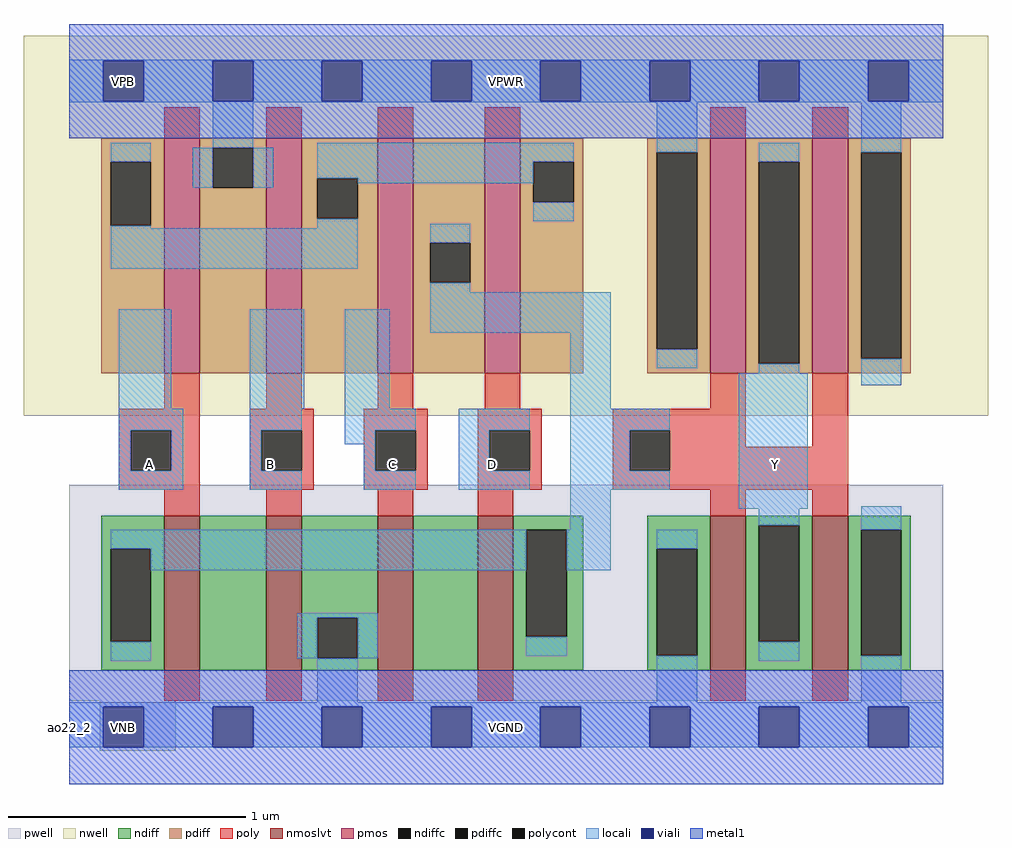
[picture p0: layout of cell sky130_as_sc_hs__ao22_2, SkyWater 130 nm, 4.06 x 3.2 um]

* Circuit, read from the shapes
.subckt sky130_as_sc_hs__ao22_2 VNB VPB VPWR VGND A C B D Y
XM1 n1 A n2 VNB sky130_fd_pr__nfet_01v8_lvt w=0.65 l=0.15
XM2 VGND B n1 VNB sky130_fd_pr__nfet_01v8_lvt w=0.65 l=0.15
XM3 n3 C VGND VNB sky130_fd_pr__nfet_01v8_lvt w=0.65 l=0.15
XM4 n2 D n3 VNB sky130_fd_pr__nfet_01v8_lvt w=0.65 l=0.15
XM5 Y n2 VGND VNB sky130_fd_pr__nfet_01v8_lvt w=0.65 l=0.15 m=2
XM6 VPWR A n4 VPB sky130_fd_pr__pfet_01v8 w=0.99 l=0.15
XM7 n4 B VPWR VPB sky130_fd_pr__pfet_01v8 w=0.99 l=0.15
XM8 n2 C n4 VPB sky130_fd_pr__pfet_01v8 w=0.99 l=0.15
XM9 n4 D n2 VPB sky130_fd_pr__pfet_01v8 w=0.99 l=0.15
XM10 Y n2 VPWR VPB sky130_fd_pr__pfet_01v8 w=0.99 l=0.15 m=2
.ends

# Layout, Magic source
magic
tech sky130A
magscale 1 2
<< nwell >>
rect -38 262 774 582
<< pwell >>
rect 0 22 736 204
rect 26 -20 90 22
<< pmos >>
rect 80 298 110 496
rect 166 298 196 496
rect 260 298 290 496
rect 350 298 380 496
rect 540 298 570 496
rect 626 298 656 496
<< nmoslvt >>
rect 80 48 110 178
rect 166 48 196 178
rect 260 48 290 178
rect 344 48 374 178
rect 540 48 570 178
rect 626 48 656 178
<< ndiff >>
rect 27 150 80 178
rect 27 72 35 150
rect 69 72 80 150
rect 27 48 80 72
rect 110 48 166 178
rect 196 92 260 178
rect 196 58 209 92
rect 243 58 260 92
rect 196 48 260 58
rect 290 48 344 178
rect 374 166 433 178
rect 374 76 385 166
rect 419 76 433 166
rect 374 48 433 76
rect 487 150 540 178
rect 487 60 495 150
rect 529 60 540 150
rect 487 48 540 60
rect 570 170 626 178
rect 570 72 581 170
rect 615 72 626 170
rect 570 48 626 72
rect 656 166 709 178
rect 656 60 667 166
rect 701 60 709 166
rect 656 48 709 60
<< pdiff >>
rect 27 476 80 496
rect 27 422 35 476
rect 69 422 80 476
rect 27 298 80 422
rect 110 488 166 496
rect 110 454 121 488
rect 155 454 166 488
rect 110 298 166 454
rect 196 462 260 496
rect 196 428 209 462
rect 243 428 260 462
rect 196 298 260 428
rect 290 408 350 496
rect 290 374 304 408
rect 338 374 350 408
rect 290 298 350 374
rect 380 476 433 496
rect 380 442 391 476
rect 425 442 433 476
rect 380 298 433 442
rect 487 484 540 496
rect 487 318 495 484
rect 529 318 540 484
rect 487 298 540 318
rect 570 476 626 496
rect 570 306 581 476
rect 615 306 626 476
rect 570 298 626 306
rect 656 484 709 496
rect 656 310 667 484
rect 701 310 709 484
rect 656 298 709 310
<< ndiffc >>
rect 35 72 69 150
rect 209 58 243 92
rect 385 76 419 166
rect 495 60 529 150
rect 581 72 615 170
rect 667 60 701 166
<< pdiffc >>
rect 35 422 69 476
rect 121 454 155 488
rect 209 428 243 462
rect 304 374 338 408
rect 391 442 425 476
rect 495 318 529 484
rect 581 306 615 476
rect 667 310 701 484
<< poly >>
rect 80 496 110 522
rect 166 496 196 522
rect 260 496 290 522
rect 350 496 380 522
rect 540 496 570 522
rect 626 496 656 522
rect 80 268 110 298
rect 166 268 196 298
rect 260 268 290 298
rect 350 268 380 298
rect 540 268 570 298
rect 42 250 110 268
rect 42 216 52 250
rect 86 216 110 250
rect 42 200 110 216
rect 152 250 206 268
rect 152 216 162 250
rect 196 216 206 250
rect 152 200 206 216
rect 248 250 302 268
rect 248 216 258 250
rect 292 216 302 250
rect 248 200 302 216
rect 344 250 398 268
rect 344 216 354 250
rect 388 216 398 250
rect 344 200 398 216
rect 458 250 570 268
rect 458 216 472 250
rect 506 236 570 250
rect 626 236 656 298
rect 506 216 656 236
rect 458 200 656 216
rect 80 178 110 200
rect 166 178 196 200
rect 260 178 290 200
rect 344 178 374 200
rect 540 178 570 200
rect 626 178 656 200
rect 80 22 110 48
rect 166 22 196 48
rect 260 22 290 48
rect 344 22 374 48
rect 540 22 570 48
rect 626 22 656 48
<< polycont >>
rect 52 216 86 250
rect 162 216 196 250
rect 258 216 292 250
rect 354 216 388 250
rect 472 216 506 250
<< locali >>
rect 0 561 736 562
rect 0 527 29 561
rect 63 527 121 561
rect 155 527 213 561
rect 247 527 305 561
rect 339 527 397 561
rect 431 527 489 561
rect 523 527 581 561
rect 615 527 673 561
rect 707 527 736 561
rect 0 526 736 527
rect 35 476 69 492
rect 121 488 155 526
rect 104 454 121 488
rect 155 454 172 488
rect 209 476 425 492
rect 209 462 391 476
rect 35 420 69 422
rect 243 458 391 462
rect 209 420 243 428
rect 391 426 425 442
rect 495 484 529 526
rect 35 386 243 420
rect 304 408 338 424
rect 304 366 338 374
rect 42 268 86 352
rect 152 268 198 352
rect 232 268 270 352
rect 304 332 456 366
rect 422 268 456 332
rect 495 302 529 318
rect 581 476 615 492
rect 581 298 615 306
rect 667 484 701 526
rect 42 250 96 268
rect 42 216 52 250
rect 86 216 96 250
rect 42 200 96 216
rect 152 250 196 268
rect 152 216 162 250
rect 232 250 292 268
rect 232 238 258 250
rect 152 200 196 216
rect 248 216 258 238
rect 248 200 292 216
rect 328 250 388 268
rect 328 216 354 250
rect 328 200 388 216
rect 422 250 506 268
rect 422 216 472 250
rect 422 200 506 216
rect 422 166 456 200
rect 564 184 622 298
rect 667 288 701 310
rect 581 170 615 184
rect 35 150 385 166
rect 69 132 385 150
rect 35 56 69 72
rect 192 92 260 96
rect 192 58 209 92
rect 243 58 260 92
rect 419 132 456 166
rect 495 150 529 166
rect 385 60 419 76
rect 209 21 243 58
rect 495 21 529 60
rect 581 56 615 72
rect 667 166 701 186
rect 667 21 701 60
rect 0 17 736 21
rect 0 -17 29 17
rect 63 -17 121 17
rect 155 -17 213 17
rect 247 -17 305 17
rect 339 -17 397 17
rect 431 -17 489 17
rect 523 -17 581 17
rect 615 -17 673 17
rect 707 -17 736 17
<< viali >>
rect 29 527 63 561
rect 121 527 155 561
rect 213 527 247 561
rect 305 527 339 561
rect 397 527 431 561
rect 489 527 523 561
rect 581 527 615 561
rect 673 527 707 561
rect 29 -17 63 17
rect 121 -17 155 17
rect 213 -17 247 17
rect 305 -17 339 17
rect 397 -17 431 17
rect 489 -17 523 17
rect 581 -17 615 17
rect 673 -17 707 17
<< metal1 >>
rect 0 561 736 592
rect 0 527 29 561
rect 63 527 121 561
rect 155 527 213 561
rect 247 527 305 561
rect 339 527 397 561
rect 431 527 489 561
rect 523 527 581 561
rect 615 527 673 561
rect 707 527 736 561
rect 0 496 736 527
rect 0 17 736 48
rect 0 -17 29 17
rect 63 -17 121 17
rect 155 -17 213 17
rect 247 -17 305 17
rect 339 -17 397 17
rect 431 -17 489 17
rect 523 -17 581 17
rect 615 -17 673 17
rect 707 -17 736 17
rect 0 -48 736 -17
<< labels >>
rlabel comment s 0 0 0 0 4 ao22_2
flabel pwell s 29 -17 63 17 0 FreeSans 200 0 0 0 VNB
port 1 nsew ground bidirectional
flabel pwell s 46 0 46 0 0 FreeSans 200 0 0 0 VNB
flabel nwell s 29 527 63 561 0 FreeSans 200 0 0 0 VPB
port 2 nsew power bidirectional
flabel nwell s 46 544 46 544 0 FreeSans 200 0 0 0 VPB
flabel metal1 s 29 527 63 561 0 FreeSans 200 0 0 0 VPWR
port 3 nsew power bidirectional abutment
flabel metal1 s 29 -17 63 17 0 FreeSans 200 0 0 0 VGND
port 4 nsew ground bidirectional abutment
rlabel metal1 s 0 -48 736 48 1 VGND
port 4 nsew ground bidirectional abutment
rlabel metal1 s 0 496 736 592 1 VPWR
port 3 nsew power bidirectional abutment
flabel locali s 51 204 85 238 0 FreeSans 200 0 0 0 A
port 5 nsew signal input
flabel locali s 68 221 68 221 0 FreeSans 200 0 0 0 A
flabel locali s 255 204 289 238 0 FreeSans 200 0 0 0 C
port 6 nsew signal input
flabel locali s 272 221 272 221 0 FreeSans 200 0 0 0 C
flabel locali s 153 204 187 238 0 FreeSans 200 0 0 0 B
port 7 nsew signal input
flabel locali s 170 221 170 221 0 FreeSans 200 0 0 0 B
flabel locali s 340 204 374 238 0 FreeSans 200 0 0 0 D
port 8 nsew signal input
flabel locali s 357 221 357 221 0 FreeSans 200 0 0 0 D
flabel locali s 578 204 612 238 0 FreeSans 200 0 0 0 Y
port 9 nsew signal output
flabel locali s 595 221 595 221 0 FreeSans 200 0 0 0 Y
<< properties >>
string FIXED_BBOX 0 0 736 544
string GDS_FILE $PDKPATH/libs.ref/sky130_as_sc_hs/gds/sky130_as_sc_hs__ao22_2.gds
string LEFclass CORE
string LEFsite unithd
string LEFsymmetry X Y R90
string MASKHINTS_LVTN 0 -4 736 220
string MASKHINTS_NSDM 0 -38 736 209
string MASKHINTS_PSDM 0 273 736 582
<< end >>
